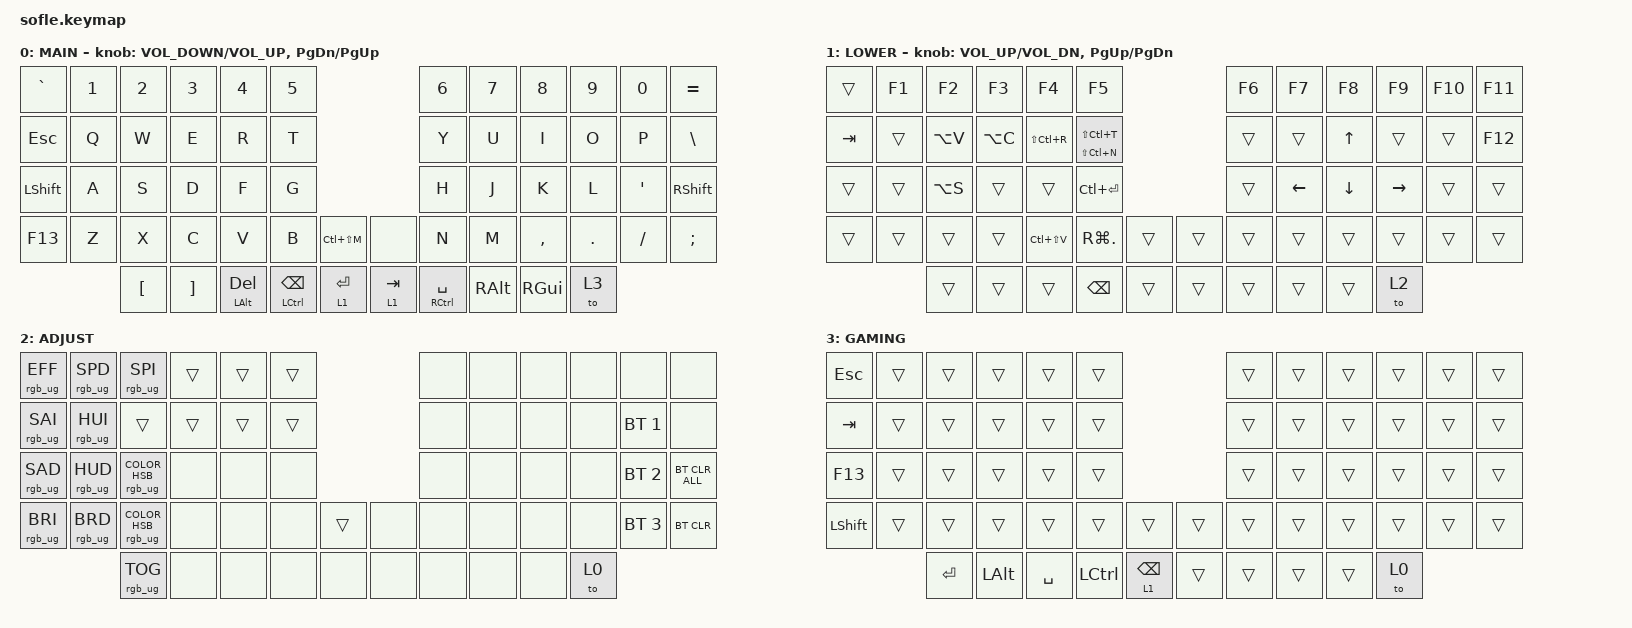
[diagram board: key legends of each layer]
/*
 * Copyright (c) 2020 The ZMK Contributors
 *
 * SPDX-License-Identifier: MIT
 */

#include <behaviors.dtsi>
#include <dt-bindings/zmk/bt.h>
#include <dt-bindings/zmk/keys.h>
#include <dt-bindings/zmk/rgb.h>

#define BASE 0
#define LOWER 1
#define RAISE 2
#define ADJUST 3

/ {
    // Activate ADJUST layer by pressing raise and lower

    conditional_layers { compatible = "zmk,conditional-layers"; };

    combos {
        compatible = "zmk,combos";

        Combo_Hyphen {
            bindings = <&kp MINUS>;
            key-positions = <31 32>;
        };

        Combo_Parenthesis {
            bindings = <&Macro_Parenthesis>;
            key-positions = <19 20>;
        };

        Combo_Brackets {
            bindings = <&Macro_Brackets>;
            key-positions = <45 46>;
        };

        Combo_Braces {
            bindings = <&Macro_Braces>;
            key-positions = <44 45>;
        };

        Combo_Home {
            bindings = <&kp HOME>;
            key-positions = <27 28>;
        };

        Combo_End {
            bindings = <&kp END>;
            key-positions = <39 40>;
        };
    };

    behaviors {
        mtkp: mtkp {
            compatible = "zmk,behavior-hold-tap";
            label = "MTKP";
            bindings = <&mo>, <&kp>;

            #binding-cells = <2>;
            tapping-term-ms = <175>;
            flavor = "balanced";
        };

        kpkp: kpkp {
            compatible = "zmk,behavior-hold-tap";
            label = "KPKP";
            bindings = <&kp>, <&kp>;

            #binding-cells = <2>;
            tapping-term-ms = <175>;
            flavor = "tap-preferred";
        };
    };

    macros {
        Macro_Braces: Macro_Braces {
            compatible = "zmk,behavior-macro";
            #binding-cells = <0>;
            bindings = <&kp LEFT_BRACE &kp RBRC &kp LEFT>;
            label = "MACRO_BRACES";
        };

        Macro_Brackets: Macro_Brackets {
            compatible = "zmk,behavior-macro";
            #binding-cells = <0>;
            bindings = <&kp LEFT_BRACKET &kp RIGHT_BRACKET &kp LEFT>;
            label = "MACRO_BRACKETS";
        };

        Macro_Parenthesis: Macro_Parenthesis {
            compatible = "zmk,behavior-macro";
            #binding-cells = <0>;
            bindings = <&kp LEFT_PARENTHESIS &kp RIGHT_PARENTHESIS &kp LEFT>;
            label = "MACRO_PARENTHESIS";
        };
    };

    keymap {
        compatible = "zmk,keymap";

        MAIN {
            display-name = "MAIN";

            // ------------------------------------------------------------------------------------------------------------
            // |   `   |  1  |  2  |  3   |  4   |  5   |                   |  6   |  7    |  8    |  9   |   0   |       |
            // |  ESC  |  Q  |  W  |  E   |  R   |  T   |                   |  Y   |  U    |  I    |  O   |   P   | BKSPC |
            // |  TAB  |  A  |  S  |  D   |  F   |  G   |                   |  H   |  J    |  K    |  L   |   ;   |   '   |
            // | SHIFT |  Z  |  X  |  C   |  V   |  B   |  MUTE  |  |       |  N   |  M    |  ,    |  .   |   /   | SHIFT |
            //               | GUI | ALT  | CTRL | LOWER|  ENTER |  | SPACE | RAISE| CTRL  | ALT   | GUI  |

            bindings = <
&kp GRAVE   &kp N1  &kp N2            &kp N3             &kp N4            &kp N5                                               &kp N6             &kp N7         &kp N8     &kp N9   &kp N0    &kp EQUAL
&kp ESC     &kp Q   &kp W             &kp E              &kp R             &kp T                                                &kp Y              &kp U          &kp I      &kp O    &kp P     &kp BACKSLASH
&kp LSHIFT  &kp A   &kp S             &kp D              &kp F             &kp G                                                &kp H              &kp J          &kp K      &kp L    &kp APOS  &kp RSHIFT
&kp F13     &kp Z   &kp X             &kp C              &kp V             &kp B                  &kp LC(LS(M))    &none        &kp N              &kp M          &kp COMMA  &kp DOT  &kp FSLH  &kp SEMI
                    &kp LEFT_BRACKET  &kp RIGHT_BRACKET  &mt LEFT_ALT DEL  &kpkp LCTRL BACKSPACE  &mtkp 1 ENTER    &mtkp 1 TAB  &kpkp RCTRL SPACE  &kp RIGHT_ALT  &kp RGUI   &to 3
            >;

            sensor-bindings =
                <&inc_dec_kp C_VOLUME_DOWN C_VOLUME_UP>,
                <&inc_dec_kp PAGE_DOWN PAGE_UP>;
        };

        LOWER {
            display-name = "LOWER";

            // TODO: Some binds are waiting for shifted keycode support.
            // ------------------------------------------------------------------------------------------------------------
            // |       |  F1 |  F2 |  F3  |  F4  |  F5  |                   |  F6  |  F7   |  F8   |  F9  |  F10  |  F11  |
            // |   `   |  1  |  2  |  3   |  4   |  5   |                   |  6   |  7    |  8    |  9   |   0   |  F12  |
            // |       |  !  |  @  |  #   |  $   |  %   |                   |  ^   |  &    |  *    |  (   |   )   |   |   |
            // |       |  =  |  -  |  +   |  {   |  }   |        |  |       |  [   |  ]    |  ;    |  :   |   \   |       |
            //               |     |      |      |      |        |  |       |      |       |       |      |

            bindings = <
&trans   &kp F1  &kp F2     &kp F3     &kp F4         &kp F5                                       &kp F6  &kp F7    &kp F8          &kp F9     &kp F10  &kp F11
&kp TAB  &trans  &kp LA(V)  &kp LA(C)  &kp LS(LC(R))  &kpkp LS(LC(N)) LS(LC(T))                    &trans  &trans    &kp UP_ARROW    &trans     &trans   &kp F12
&trans   &trans  &kp LA(S)  &trans     &trans         &kp LC(ENTER)                                &trans  &kp LEFT  &kp DOWN_ARROW  &kp RIGHT  &trans   &trans
&trans   &trans  &trans     &trans     &kp LC(LS(V))  &kp RG(PERIOD)             &trans    &trans  &trans  &trans    &trans          &trans     &trans   &trans
                 &trans     &trans     &trans         &kp BACKSPACE              &trans    &trans  &trans  &trans    &trans          &to 2
            >;

            sensor-bindings = <&inc_dec_kp C_VOL_UP C_VOL_DN &inc_dec_kp PG_UP PG_DN>;
        };

        ADJUST {
            // ----------------------------------------------------------------------------------------------------------------------------
            // | BTCLR  |  BT1    |  BT2    |   BT3   |   BT4   |   BT5   |                  |      |      |       |      |       |       |
            // | EXTPWR | RGB_HUD | RGB_HUI | RGB_SAD | RGB_SAI | RGB_EFF |                  |      |      |       |      |       |       |
            // |        | RGB_BRD | RGB_BRI |         |         |         |                  |      |      |       |      |       |       |
            // |        |         |         |         |         |         | RGB_TOG | |      |      |      |       |      |       |       |
            //                    |         |         |         |         |         | |      |      |      |       |      |

            display-name = "ADJUST";
            bindings = <
&rgb_ug RGB_EFF  &rgb_ug RGB_SPD  &rgb_ug RGB_SPI                    &trans  &trans  &trans                   &none  &none  &none  &none  &none         &none
&rgb_ug RGB_SAI  &rgb_ug RGB_HUI  &trans                             &trans  &trans  &trans                   &none  &none  &none  &none  &bt BT_SEL 1  &none
&rgb_ug RGB_SAD  &rgb_ug RGB_HUD  &rgb_ug RGB_COLOR_HSB(323,100,50)  &none   &none   &none                    &none  &none  &none  &none  &bt BT_SEL 2  &bt BT_CLR_ALL
&rgb_ug RGB_BRI  &rgb_ug RGB_BRD  &rgb_ug RGB_COLOR_HSB(193,98,52)   &none   &none   &none   &trans    &none  &none  &none  &none  &none  &bt BT_SEL 3  &bt BT_CLR
                                  &rgb_ug RGB_TOG                    &none   &none   &none   &none     &none  &none  &none  &none  &to 0
            >;
        };

        GAMING {
            bindings = <
&kp ESC    &trans  &trans     &trans    &trans     &trans                                  &trans  &trans  &trans  &trans  &trans  &trans
&kp TAB    &trans  &trans     &trans    &trans     &trans                                  &trans  &trans  &trans  &trans  &trans  &trans
&kp F13    &trans  &trans     &trans    &trans     &trans                                  &trans  &trans  &trans  &trans  &trans  &trans
&kp LSHFT  &trans  &trans     &trans    &trans     &trans     &trans               &trans  &trans  &trans  &trans  &trans  &trans  &trans
                   &kp ENTER  &kp LALT  &kp SPACE  &kp LCTRL  &mtkp 1 BACKSPACE    &trans  &trans  &trans  &trans  &to 0
            >;

            label = "GAMING";
        };
    };
};
